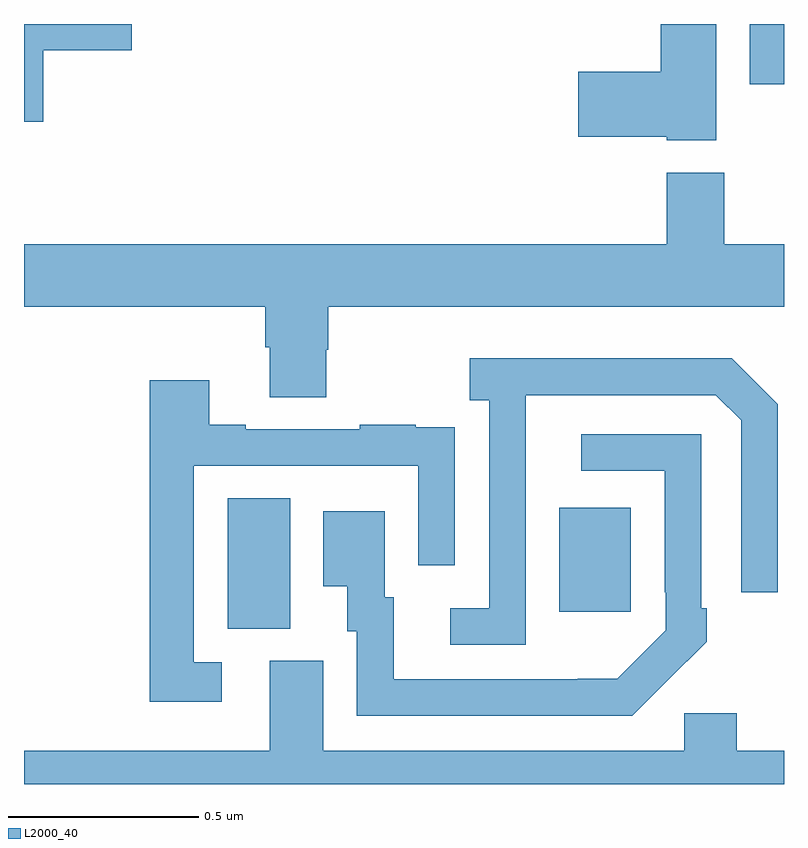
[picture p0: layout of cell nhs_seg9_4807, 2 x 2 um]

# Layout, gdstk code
import gdstk
lib = gdstk.Library(unit=1e-6, precision=1e-09)
def R(c, l, rs):  # rectangles x0, y0, x1, y1
    for r in rs: c.add(gdstk.rectangle(r[:2], r[2:], *l))
def P(c, l, *ps):  # polygons
    for p in ps: c.add(gdstk.Polygon(p, *l))
L2000_40 = (2000, 40)

nhs_seg9_4807 = lib.new_cell('nhs_seg9_4807')
R(nhs_seg9_4807, L2000_40, [(171.536,1192.909,171.7,1193.252), (172.409,1192.953,172.597,1193.227), (172.91,1194.341,173,1194.5)])
P(nhs_seg9_4807, L2000_40, [(171.05,1194.431),(171.283,1194.431),(171.283,1194.5),(171,1194.5),(171,1194.243),(171.05,1194.243)],
  [(172.822,1194.5),(172.676,1194.5),(172.676,1194.374),(172.458,1194.374),(172.458,1194.203),(172.692,1194.203),(172.692,1194.194),(172.822,1194.194)],
  [(171.795,1193.643),(171.8,1193.643),(171.8,1193.756),(173,1193.756),(173,1193.92),(172.843,1193.92),(172.843,1194.109),(172.691,1194.109),(172.691,1193.92),(171,1193.92),(171,1193.756),(171.635,1193.756),(171.635,1193.65),(171.647,1193.65),(171.647,1193.518),(171.795,1193.518)],
  [(172.32,1193.323),(172.321,1193.323),(172.321,1193.523),(172.821,1193.523),(172.887,1193.457),(172.887,1193.004),(172.983,1193.004),(172.983,1193.499),(172.862,1193.62),(172.173,1193.62),(172.173,1193.51),(172.224,1193.51),(172.224,1192.962),(172.122,1192.962),(172.122,1192.866),(172.32,1192.866)],
  [(171.52,1192.821),(171.447,1192.821),(171.447,1193.337),(172.038,1193.337),(172.038,1193.076),(172.134,1193.076),(172.134,1193.33),(172.133,1193.33),(172.133,1193.439),(172.031,1193.439),(172.031,1193.446),(171.883,1193.446),(171.883,1193.433),(171.583,1193.433),(171.583,1193.446),(171.487,1193.446),(171.487,1193.563),(171.331,1193.563),(171.331,1192.716),(171.52,1192.716)],
  [(172.691,1192.771),(172.692,1192.77),(172.797,1192.875),(172.797,1192.963),(172.782,1192.963),(172.782,1193.421),(172.467,1193.421),(172.467,1193.325),(172.686,1193.325),(172.686,1193.005),(172.689,1193.005),(172.689,1192.905),(172.561,1192.777),(172.457,1192.777),(172.457,1192.776),(171.973,1192.776),(171.973,1192.992),(171.949,1192.992),(171.949,1193.218),(171.788,1193.218),(171.788,1193.021),(171.851,1193.021),(171.851,1192.902),(171.876,1192.902),(171.876,1192.68),(172.6,1192.68)],
  [(173,1192.588),(172.876,1192.588),(172.876,1192.686),(172.737,1192.686),(172.737,1192.588),(171.787,1192.588),(171.787,1192.824),(171.647,1192.824),(171.647,1192.588),(171,1192.588),(171,1192.5),(173,1192.5)])

lib.write_gds('nhs_seg9_4807.gds')
